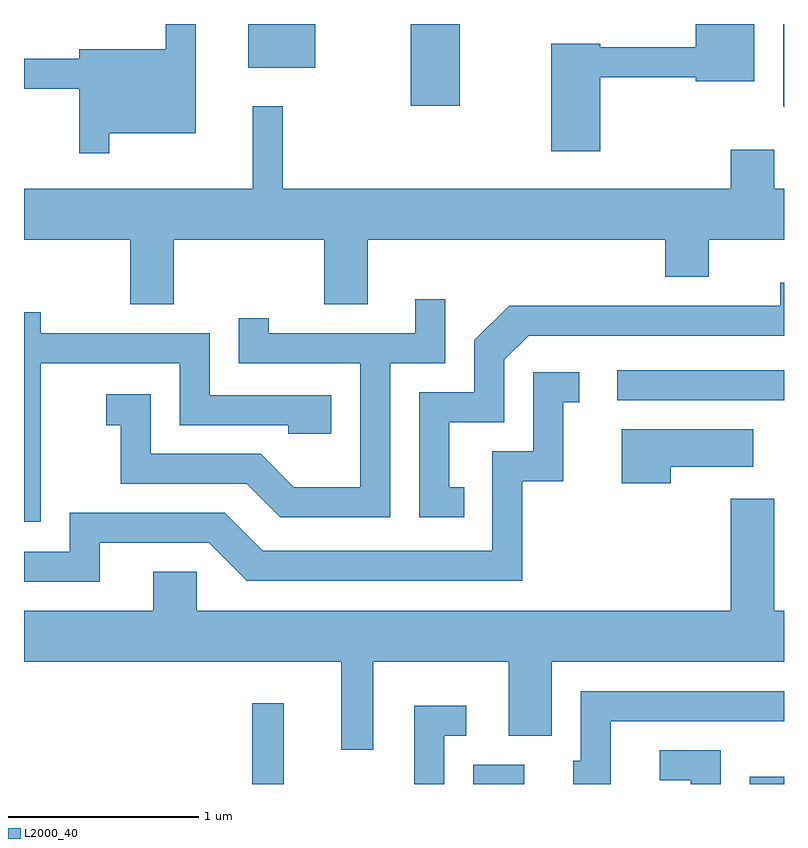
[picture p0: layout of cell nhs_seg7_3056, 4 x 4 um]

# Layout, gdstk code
import gdstk
lib = gdstk.Library(unit=1e-6, precision=1e-09)
def R(c, l, rs):  # rectangles x0, y0, x1, y1
    for r in rs: c.add(gdstk.rectangle(r[:2], r[2:], *l))
def P(c, l, *ps):  # polygons
    for p in ps: c.add(gdstk.Polygon(p, *l))
L2000_40 = (2000, 40)

nhs_seg7_3056 = lib.new_cell('nhs_seg7_3056')
R(nhs_seg7_3056, L2000_40, [(278.811,1800.252,278.979,1800.678), (279.976,1800.252,280.244,1800.354), (281.431,1800.252,281.611,1800.289), (280.733,1802.271,281.611,1802.429), (279.646,1803.821,279.904,1804.252), (278.791,1804.021,279.144,1804.252)])
P(nhs_seg7_3056, L2000_40, [(278.059,1803.676),(278.514,1803.676),(278.514,1804.252),(278.356,1804.252),(278.356,1804.119),(277.901,1804.119),(277.901,1804.069),(277.611,1804.069),(277.611,1803.911),(277.901,1803.911),(277.901,1803.573),(278.059,1803.573)],
  [(280.644,1803.971),(281.146,1803.971),(281.146,1803.951),(281.454,1803.951),(281.454,1804.252),(281.146,1804.252),(281.146,1804.129),(280.644,1804.129),(280.644,1804.149),(280.386,1804.149),(280.386,1803.581),(280.644,1803.581)],
  [(281.611,1804.252),(281.606,1804.252),(281.606,1803.819),(281.611,1803.814)],
  [(278.399,1803.116),(279.191,1803.116),(279.191,1802.776),(279.419,1802.776),(279.419,1803.116),(280.986,1803.116),(280.986,1802.921),(281.214,1802.921),(281.214,1803.116),(281.611,1803.116),(281.611,1803.384),(281.559,1803.384),(281.559,1803.589),(281.331,1803.589),(281.331,1803.384),(278.974,1803.384),(278.974,1803.818),(278.816,1803.818),(278.816,1803.384),(277.611,1803.384),(277.611,1803.116),(278.171,1803.116),(278.171,1802.776),(278.399,1802.776)],
  [(279.928,1801.814),(279.849,1801.814),(279.849,1802.156),(280.139,1802.156),(280.139,1802.484),(280.267,1802.611),(281.611,1802.611),(281.611,1802.889),(281.591,1802.889),(281.591,1802.769),(280.164,1802.769),(279.981,1802.587),(279.981,1802.314),(279.691,1802.314),(279.691,1801.656),(279.928,1801.656)],
  [(279.539,1802.466),(279.829,1802.466),(279.829,1802.803),(279.671,1802.803),(279.671,1802.624),(278.899,1802.624),(278.899,1802.703),(278.741,1802.703),(278.741,1802.466),(279.381,1802.466),(279.381,1801.814),(279.032,1801.814),(278.857,1801.989),(278.279,1801.989),(278.279,1802.304),(278.043,1802.304),(278.043,1802.141),(278.121,1802.141),(278.121,1801.831),(278.784,1801.831),(278.959,1801.656),(279.539,1801.656)],
  [(277.699,1802.466),(278.431,1802.466),(278.431,1802.141),(279.001,1802.141),(279.001,1802.096),(279.229,1802.096),(279.229,1802.299),(278.589,1802.299),(278.589,1802.624),(277.699,1802.624),(277.699,1802.734),(277.611,1802.734),(277.611,1801.631),(277.699,1801.631)],
  [(278.009,1801.521),(278.584,1801.521),(278.784,1801.321),(280.234,1801.321),(280.234,1801.846),(280.449,1801.846),(280.449,1802.261),(280.533,1802.261),(280.533,1802.419),(280.291,1802.419),(280.291,1802.004),(280.076,1802.004),(280.076,1801.479),(278.867,1801.479),(278.667,1801.679),(277.851,1801.679),(277.851,1801.474),(277.611,1801.474),(277.611,1801.316),(278.009,1801.316)],
  [(281.014,1801.921),(281.449,1801.921),(281.449,1802.119),(280.756,1802.119),(280.756,1801.836),(281.014,1801.836)],
  [(279.281,1800.433),(279.449,1800.433),(279.449,1800.896),(280.161,1800.896),(280.161,1800.506),(280.389,1800.506),(280.389,1800.896),(281.611,1800.896),(281.611,1801.164),(281.559,1801.164),(281.559,1801.754),(281.331,1801.754),(281.331,1801.164),(278.519,1801.164),(278.519,1801.369),(278.291,1801.369),(278.291,1801.164),(277.611,1801.164),(277.611,1800.896),(279.281,1800.896)],
  [(280.699,1800.581),(281.611,1800.581),(281.611,1800.739),(280.541,1800.739),(280.541,1800.374),(280.501,1800.374),(280.501,1800.252),(280.699,1800.252)],
  [(279.824,1800.506),(279.938,1800.506),(279.938,1800.664),(279.666,1800.664),(279.666,1800.252),(279.824,1800.252)],
  [(281.279,1800.429),(280.958,1800.429),(280.958,1800.271),(281.121,1800.271),(281.121,1800.252),(281.279,1800.252)])

lib.write_gds('nhs_seg7_3056.gds')
